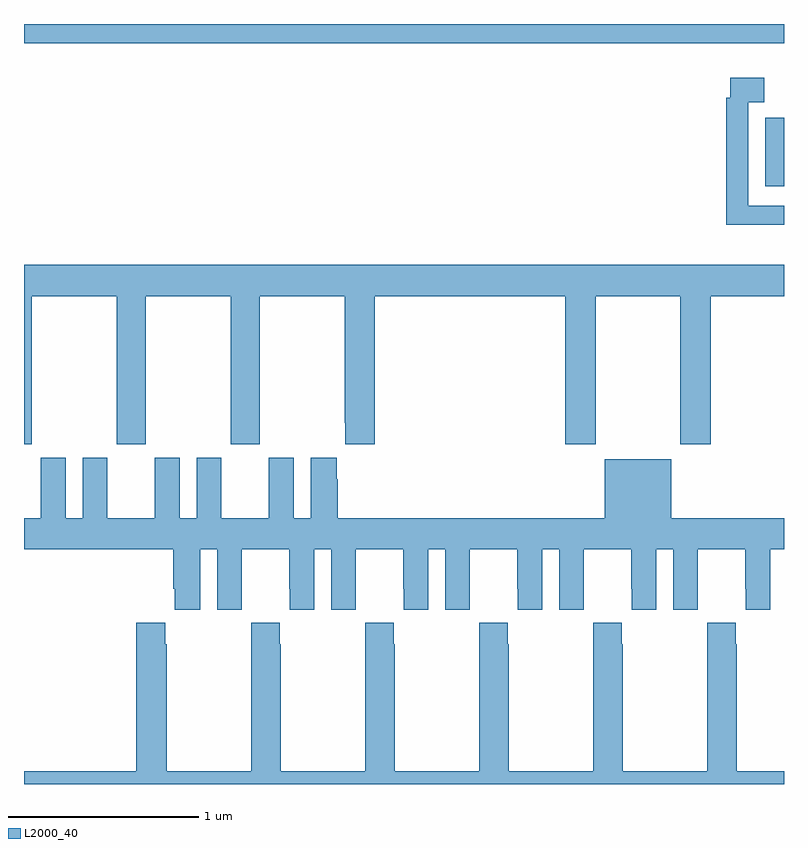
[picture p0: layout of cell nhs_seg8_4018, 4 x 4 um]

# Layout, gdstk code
import gdstk
lib = gdstk.Library(unit=1e-6, precision=1e-09)
def R(c, l, rs):  # rectangles x0, y0, x1, y1
    for r in rs: c.add(gdstk.rectangle(r[:2], r[2:], *l))
def P(c, l, *ps):  # polygons
    for p in ps: c.add(gdstk.Polygon(p, *l))
L2000_40 = (2000, 40)

nhs_seg8_4018 = lib.new_cell('nhs_seg8_4018')
R(nhs_seg8_4018, L2000_40, [(360.902,1149.045,361,1149.407), (357,1149.8,361,1149.9)])
P(nhs_seg8_4018, L2000_40, [(361,1148.944),(360.813,1148.944),(360.813,1149.488),(360.896,1149.488),(360.896,1149.616),(360.717,1149.616),(360.717,1149.512),(360.697,1149.512),(360.697,1148.843),(361,1148.843)],
  [(357.042,1148.468),(357.487,1148.468),(357.487,1147.689),(357.642,1147.689),(357.642,1148.468),(358.087,1148.468),(358.087,1147.689),(358.242,1147.689),(358.242,1148.468),(358.687,1148.468),(358.687,1147.801),(358.691,1147.801),(358.691,1147.689),(358.847,1147.689),(358.847,1148.468),(359.849,1148.468),(359.849,1147.689),(360.009,1147.689),(360.009,1148.468),(360.454,1148.468),(360.454,1147.689),(360.614,1147.689),(360.614,1148.468),(361,1148.468),(361,1148.632),(357,1148.632),(357,1147.689),(357.042,1147.689)],
  [(357.928,1147.136),(358.016,1147.136),(358.016,1146.816),(358.146,1146.816),(358.146,1146.928),(358.147,1146.928),(358.147,1147.136),(358.397,1147.136),(358.397,1146.928),(358.398,1146.928),(358.398,1146.816),(358.528,1146.816),(358.528,1147.136),(358.616,1147.136),(358.616,1146.816),(358.746,1146.816),(358.746,1146.928),(358.747,1146.928),(358.747,1147.136),(358.997,1147.136),(358.997,1146.928),(358.998,1146.928),(358.998,1146.816),(359.128,1146.816),(359.128,1147.136),(359.216,1147.136),(359.216,1146.816),(359.346,1146.816),(359.346,1146.928),(359.347,1146.928),(359.347,1147.136),(359.597,1147.136),(359.597,1146.928),(359.598,1146.928),(359.598,1146.816),(359.728,1146.816),(359.728,1147.136),(359.816,1147.136),(359.816,1146.816),(359.946,1146.816),(359.946,1146.928),(359.947,1146.928),(359.947,1147.136),(360.197,1147.136),(360.197,1146.928),(360.198,1146.928),(360.198,1146.816),(360.328,1146.816),(360.328,1147.136),(360.416,1147.136),(360.416,1146.816),(360.546,1146.816),(360.546,1146.928),(360.547,1146.928),(360.547,1147.136),(360.797,1147.136),(360.797,1146.928),(360.798,1146.928),(360.798,1146.816),(360.928,1146.816),(360.928,1147.136),(361,1147.136),(361,1147.3),(360.406,1147.3),(360.406,1147.609),(360.056,1147.609),(360.056,1147.3),(358.652,1147.3),(358.652,1147.505),(358.645,1147.505),(358.645,1147.618),(358.508,1147.618),(358.508,1147.3),(358.42,1147.3),(358.42,1147.618),(358.289,1147.618),(358.289,1147.3),(358.039,1147.3),(358.039,1147.618),(357.908,1147.618),(357.908,1147.3),(357.82,1147.3),(357.82,1147.618),(357.689,1147.618),(357.689,1147.3),(357.439,1147.3),(357.439,1147.618),(357.308,1147.618),(357.308,1147.3),(357.22,1147.3),(357.22,1147.618),(357.089,1147.618),(357.089,1147.3),(357,1147.3),(357,1147.136),(357.785,1147.136),(357.785,1146.928),(357.794,1146.928),(357.794,1146.816),(357.928,1146.816)],
  [(361,1145.968),(360.75,1145.968),(360.75,1146.635),(360.747,1146.635),(360.747,1146.748),(360.597,1146.748),(360.597,1146.635),(360.595,1146.635),(360.595,1145.968),(360.15,1145.968),(360.15,1146.635),(360.147,1146.635),(360.147,1146.748),(359.997,1146.748),(359.997,1146.635),(359.995,1146.635),(359.995,1145.968),(359.55,1145.968),(359.55,1146.635),(359.547,1146.635),(359.547,1146.748),(359.397,1146.748),(359.397,1146.635),(359.395,1146.635),(359.395,1145.968),(358.95,1145.968),(358.95,1146.635),(358.947,1146.635),(358.947,1146.748),(358.797,1146.748),(358.797,1146.635),(358.795,1146.635),(358.795,1145.968),(358.35,1145.968),(358.35,1146.635),(358.347,1146.635),(358.347,1146.748),(358.197,1146.748),(358.197,1146.635),(358.195,1146.635),(358.195,1145.968),(357.75,1145.968),(357.75,1146.635),(357.743,1146.635),(357.743,1146.748),(357.59,1146.748),(357.59,1145.968),(357,1145.968),(357,1145.9),(361,1145.9)])

lib.write_gds('nhs_seg8_4018.gds')
